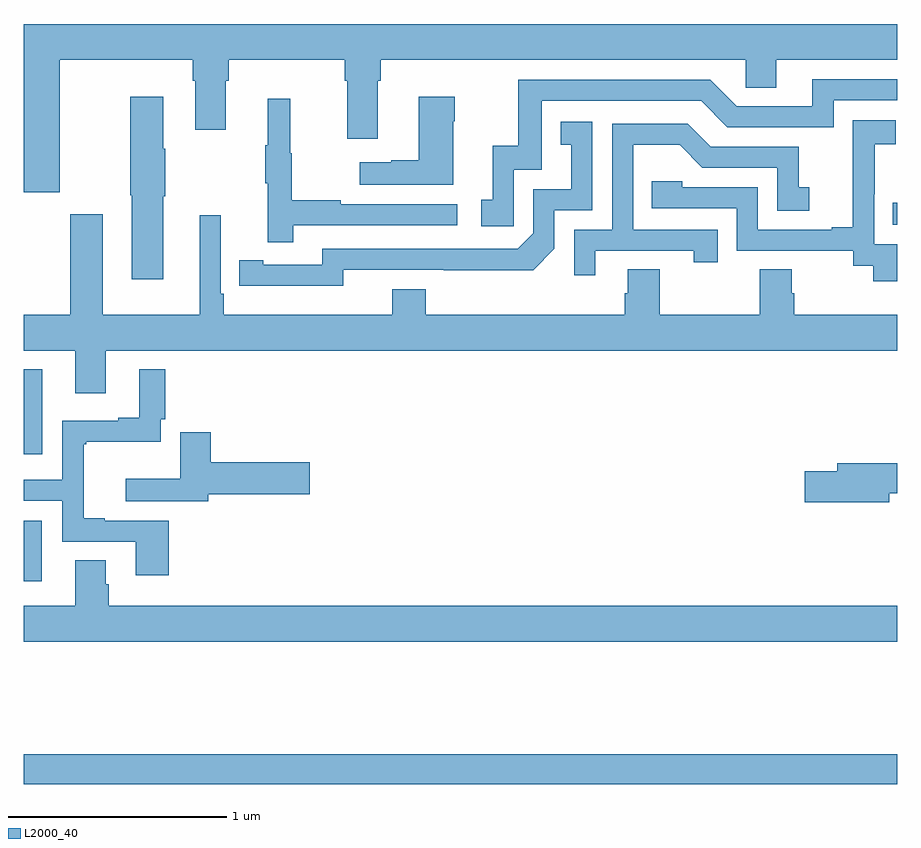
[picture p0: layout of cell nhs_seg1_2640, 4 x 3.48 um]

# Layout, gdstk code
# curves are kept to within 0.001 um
import gdstk
lib = gdstk.Library(unit=1e-6, precision=1e-09)
def R(c, l, rs):  # rectangles x0, y0, x1, y1
    for r in rs: c.add(gdstk.rectangle(r[:2], r[2:], *l))
def P(c, l, *ps):  # polygons
    for p in ps: c.add(gdstk.Polygon(p, *l))
L2000_40 = (2000, 40)

nhs_seg1_2640 = lib.new_cell('nhs_seg1_2640')
R(nhs_seg1_2640, L2000_40, [(255,512.452,259,512.588), (255,513.381,255.082,513.657), (255,513.963,255.085,514.351), (258.979,515.013,259,515.114)])
P(nhs_seg1_2640, L2000_40, [(255.166,515.768),(255.773,515.768),(255.773,515.672),(255.785,515.672),(255.785,515.448),(255.925,515.448),(255.925,515.672),(255.938,515.672),(255.938,515.768),(256.469,515.768),(256.469,515.672),(256.481,515.672),(256.481,515.406),(256.621,515.406),(256.621,515.672),(256.634,515.672),(256.634,515.768),(258.306,515.768),(258.306,515.641),(258.445,515.641),(258.445,515.768),(259,515.768),(259,515.932),(255,515.932),(255,515.162),(255.166,515.162)],
  [(257.244,515.265),(257.373,515.265),(257.373,515.58),(258.102,515.58),(258.222,515.46),(258.708,515.46),(258.708,515.583),(259,515.583),(259,515.679),(258.611,515.679),(258.611,515.556),(258.264,515.556),(258.144,515.676),(257.265,515.676),(257.265,515.374),(257.147,515.374),(257.147,515.127),(257.094,515.127),(257.094,515.007),(257.244,515.007)],
  [(255.64,515.143),(255.648,515.143),(255.648,515.36),(255.64,515.36),(255.64,515.599),(255.487,515.599),(255.487,515.149),(255.494,515.149),(255.494,514.764),(255.64,514.764)],
  [(256.966,515.486),(256.974,515.486),(256.974,515.599),(256.808,515.599),(256.808,515.309),(256.682,515.309),(256.682,515.299),(256.539,515.299),(256.539,515.195),(256.966,515.195)],
  [(256.235,515.01),(256.984,515.01),(256.984,515.106),(256.451,515.106),(256.451,515.126),(256.228,515.126),(256.228,515.34),(256.22,515.34),(256.22,515.59),(256.118,515.59),(256.118,515.377),(256.107,515.377),(256.107,515.203),(256.118,515.203),(256.118,514.932),(256.235,514.932)],
  [(258.999,514.923),(258.894,514.923),(258.894,515.153),(258.896,515.153),(258.896,515.381),(258.994,515.381),(258.994,515.491),(258.796,515.491),(258.796,515.285),(258.797,515.285),(258.797,515.002),(258.701,515.002),(258.701,514.989),(258.36,514.989),(258.36,515.184),(258.015,515.184),(258.015,515.211),(257.875,515.211),(257.875,515.088),(258.264,515.088),(258.264,514.893),(258.798,514.893),(258.798,514.825),(258.891,514.825),(258.891,514.755),(258.999,514.755)],
  [(256.464,514.806),(257.332,514.805),(257.43,514.902),(257.43,515.079),(257.604,515.079),(257.604,515.485),(257.458,515.485),(257.458,515.379),(257.507,515.379),(257.507,515.175),(257.334,515.175),(257.334,514.974),(257.262,514.902),(256.368,514.902),(256.368,514.83),(256.096,514.83),(256.096,514.85),(255.988,514.85),(255.988,514.734),(256.464,514.733)],
  [(257.617,514.893),(258.068,514.893),(258.068,514.842),(258.179,514.842),(258.179,514.989),(257.79,514.989),(257.79,515.378),(258.004,515.378),(258.108,515.274),(258.45,515.274),(258.45,515.076),(258.598,515.076),(258.598,515.185),(258.549,515.185),(258.549,515.37),(258.145,515.37),(258.04,515.475),(257.694,515.475),(257.694,514.989),(257.52,514.989),(257.52,514.782),(257.617,514.782)],
  [(255.376,514.436),(259,514.436),(259,514.6),(258.529,514.6),(258.529,514.698),(258.517,514.698),(258.517,514.808),(258.37,514.808),(258.37,514.6),(257.913,514.6),(257.913,514.808),(257.765,514.808),(257.765,514.698),(257.753,514.698),(257.753,514.6),(256.841,514.6),(256.841,514.717),(256.688,514.717),(256.688,514.6),(255.917,514.6),(255.917,514.696),(255.903,514.696),(255.903,515.056),(255.806,515.056),(255.806,514.6),(255.361,514.6),(255.361,515.062),(255.214,515.062),(255.214,514.6),(255,514.6),(255,514.436),(255.236,514.436),(255.236,514.242),(255.376,514.242)],
  [(255.665,513.657),(255.37,513.657),(255.37,513.67),(255.275,513.67),(255.275,514.008),(255.286,514.008),(255.286,514.019),(255.627,514.019),(255.627,514.123),(255.647,514.123),(255.647,514.351),(255.53,514.351),(255.53,514.129),(255.434,514.129),(255.434,514.116),(255.177,514.116),(255.177,513.846),(255,513.846),(255,513.75),(255.177,513.75),(255.177,513.561),(255.512,513.561),(255.512,513.408),(255.665,513.408)],
  [(255.844,513.779),(256.309,513.779),(256.309,513.926),(255.857,513.926),(255.857,514.063),(255.716,514.063),(255.716,513.85),(255.468,513.85),(255.468,513.746),(255.844,513.746)],
  [(258.964,513.784),(259,513.784),(259,513.92),(258.725,513.92),(258.725,513.884),(258.576,513.884),(258.576,513.742),(258.964,513.742)],
  [(259,513.268),(255.389,513.268),(255.389,513.366),(255.376,513.366),(255.376,513.476),(255.236,513.476),(255.236,513.268),(255,513.268),(255,513.104),(259,513.104)])

lib.write_gds('nhs_seg1_2640.gds')
